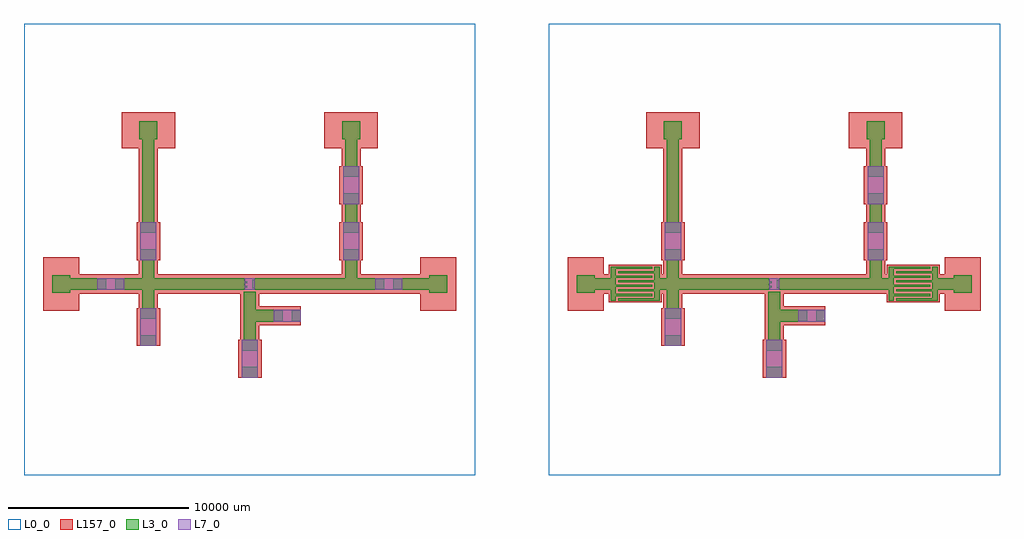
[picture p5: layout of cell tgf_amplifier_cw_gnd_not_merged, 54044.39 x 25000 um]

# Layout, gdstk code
import gdstk
lib = gdstk.Library(unit=1e-6, precision=1e-09)
def R(c, l, rs):  # rectangles x0, y0, x1, y1
    for r in rs: c.add(gdstk.rectangle(r[:2], r[2:], *l))
def A(c, l, x, y, w, h, nx, ny, dx, dy):  # array of equal rectangles
    R(c, l, [(x+i*dx, y+j*dy, x+i*dx+w, y+j*dy+h) for i in range(nx) for j in range(ny)])
def P(c, l, *ps):  # polygons
    for p in ps: c.add(gdstk.Polygon(p, *l))
L0_0 = (0, 0)
L3_0 = (3, 0)
L7_0 = (7, 0)
L157_0 = (157, 0)

tgf_amplifier_cw_gnd_not = lib.new_cell('tgf_amplifier_cw_gnd_not_merged')
R(tgf_amplifier_cw_gnd_not, L0_0, [(-3438.381,-14416.041,21561.62,10583.959), (25606.007,-14416.041,50606.008,10583.959)])
A(tgf_amplifier_cw_gnd_not, L3_0, 14347.121, -3498.541, 660, 1000, 1, 3, 0, 3100)
A(tgf_amplifier_cw_gnd_not, L3_0, 43391.509, -3498.541, 660, 1000, 1, 3, 0, 3100)
R(tgf_amplifier_cw_gnd_not, L3_0, [(8613.508,-9018.541,9513.508,-8418.541), (37657.896,-9018.541,38557.896,-8418.541), (8613.508,-7518.541,9513.508,-6918.541), (37657.896,-7518.541,38557.896,-6918.541), (2998.006,-7258.541,3898.006,-6658.541), (32042.394,-7258.541,32942.394,-6658.541), (8731.62,-6918.541,9391.62,-5918.541), (37776.008,-6918.541,38436.008,-5918.541), (8731.62,-5918.541,9391.62,-5258.541), (9391.62,-5918.541,10391.62,-5258.541), (37776.008,-5918.541,38436.008,-5258.541), (38436.008,-5918.541,39436.008,-5258.541), (10391.62,-5888.541,10891.62,-5288.541), (10391.62,-5888.541,10891.62,-5288.541), (11391.621,-5888.541,11891.621,-5288.541), (11391.621,-5888.541,11891.621,-5288.541), (39436.008,-5888.541,39936.008,-5288.541), (39436.008,-5888.541,39936.008,-5288.541), (40436.009,-5888.541,40936.009,-5288.541), (40436.009,-5888.541,40936.009,-5288.541), (2998.006,-5758.541,3898.006,-5158.541), (32042.394,-5758.541,32942.394,-5158.541), (8731.62,-5258.541,9391.62,-4258.541), (37776.008,-5258.541,38436.008,-4258.541), (3116.118,-5158.541,3776.118,-4158.541), (32160.506,-5158.541,32820.506,-4158.541), (-1868.883,-4323.541,-878.883,-3333.541), (19002.122,-4323.541,19992.122,-3333.541), (27175.505,-4323.541,28165.505,-3333.541), (48046.51,-4323.541,49036.51,-3333.541), (-878.883,-4158.541,-383.883,-3498.541), (-383.883,-4158.541,616.117,-3498.541), (2116.118,-4158.541,3116.118,-3498.541), (3116.118,-4158.541,3776.118,-3498.541), (3776.118,-4158.541,8776.118,-3498.541), (9347.121,-4158.541,14347.121,-3498.541), (14347.121,-4158.541,15007.121,-3498.541), (15007.121,-4158.541,16007.121,-3498.541), (17507.122,-4158.541,18507.122,-3498.541), (18507.122,-4158.541,19002.122,-3498.541), (28165.505,-4158.541,28660.505,-3498.541), (28660.505,-4158.541,29041.006,-3498.541), (31765.006,-4158.541,32160.506,-3498.541), (32160.506,-4158.541,32820.506,-3498.541), (32820.506,-4158.541,37820.506,-3498.541), (38391.509,-4158.541,43391.509,-3498.541), (43391.509,-4158.541,44051.509,-3498.541), (44051.509,-4158.541,44432.01,-3498.541), (47156.01,-4158.541,47551.51,-3498.541), (47551.51,-4158.541,48046.51,-3498.541), (616.117,-4128.541,1116.117,-3528.541), (616.117,-4128.541,1116.117,-3528.541), (1616.118,-4128.541,2116.118,-3528.541), (1616.118,-4128.541,2116.118,-3528.541), (16007.121,-4128.541,16507.121,-3528.541), (16007.121,-4128.541,16507.121,-3528.541), (17007.122,-4128.541,17507.122,-3528.541), (17007.122,-4128.541,17507.122,-3528.541), (9193.121,-4073.541,9347.121,-3583.54), (38237.509,-4073.541,38391.509,-3583.54), (8776.118,-4037.041,8930.118,-3922.041), (37820.506,-4037.041,37974.506,-3922.041), (8776.118,-3777.041,8930.118,-3662.041), (37820.506,-3777.041,37974.506,-3662.041), (3116.118,-3498.541,3776.118,-2498.541), (32160.506,-3498.541,32820.506,-2498.541), (2998.006,-2498.541,3898.006,-1898.541), (14229.009,-2498.541,15129.009,-1898.541), (32042.394,-2498.541,32942.394,-1898.541), (43273.397,-2498.541,44173.397,-1898.541), (2998.006,-998.541,3898.006,-398.541), (14229.009,-998.541,15129.009,-398.541), (32042.394,-998.541,32942.394,-398.541), (43273.397,-998.541,44173.397,-398.541), (3116.118,-398.541,3776.118,3701.459), (32160.506,-398.541,32820.506,3701.459), (14229.009,601.459,15129.009,1201.459), (43273.397,601.459,44173.397,1201.459), (14229.009,2101.459,15129.009,2701.459), (43273.397,2101.459,44173.397,2701.459), (3116.118,3701.459,3776.118,4196.459), (14347.121,3701.459,15007.121,4196.459), (32160.506,3701.459,32820.506,4196.459), (43391.509,3701.459,44051.509,4196.459), (2951.117,4196.459,3941.118,5186.459), (14182.12,4196.459,15172.121,5186.459), (31995.505,4196.459,32985.506,5186.459), (43226.508,4196.459,44216.509,5186.459)])
P(tgf_amplifier_cw_gnd_not, L3_0, [(29041.005,-4741.682),(29041.005,-2866.681),(31341.006,-2866.681),(31341.006,-2991.681),(29341.005,-2991.681),(29341.005,-3366.681),(31341.006,-3366.681),(31341.006,-3491.682),(29341.005,-3491.682),(29341.005,-3866.682),(31341.006,-3866.682),(31341.006,-3991.682),(29341.005,-3991.682),(29341.005,-4366.682),(31341.006,-4366.682),(31341.006,-4491.682),(29341.005,-4491.682),(29341.005,-4741.682)],
  [(29466.005,-4741.682),(29466.005,-4616.682),(31466.006,-4616.682),(31466.006,-4241.682),(29466.005,-4241.682),(29466.005,-4116.682),(31466.006,-4116.682),(31466.006,-3741.682),(29466.005,-3741.682),(29466.005,-3616.682),(31466.006,-3616.682),(31466.006,-3241.681),(29466.005,-3241.681),(29466.005,-3116.681),(31466.006,-3116.681),(31466.006,-2866.681),(31766.006,-2866.681),(31766.006,-4741.682)],
  [(44432.009,-4741.682),(44432.009,-2866.681),(46732.01,-2866.681),(46732.01,-2991.681),(44732.009,-2991.681),(44732.009,-3366.681),(46732.01,-3366.681),(46732.01,-3491.682),(44732.009,-3491.682),(44732.009,-3866.682),(46732.01,-3866.682),(46732.01,-3991.682),(44732.009,-3991.682),(44732.009,-4366.682),(46732.01,-4366.682),(46732.01,-4491.682),(44732.009,-4491.682),(44732.009,-4741.682)],
  [(44857.009,-4741.682),(44857.009,-4616.682),(46857.01,-4616.682),(46857.01,-4241.682),(44857.009,-4241.682),(44857.009,-4116.682),(46857.01,-4116.682),(46857.01,-3741.682),(44857.009,-3741.682),(44857.009,-3616.682),(46857.01,-3616.682),(46857.01,-3241.681),(44857.009,-3241.681),(44857.009,-3116.681),(46857.01,-3116.681),(46857.01,-2866.681),(47157.01,-2866.681),(47157.01,-4741.682)])
R(tgf_amplifier_cw_gnd_not, L7_0, [(8613.508,-9018.541,9513.508,-6918.541), (37657.896,-9018.541,38557.896,-6918.541), (2998.006,-7258.541,3898.006,-5158.541), (32042.394,-7258.541,32942.394,-5158.541), (10391.62,-5918.541,11891.621,-5258.541), (39436.008,-5918.541,40936.009,-5258.541), (616.117,-4158.541,2116.118,-3498.541), (8776.118,-4158.541,9347.121,-3498.541), (16007.121,-4158.541,17507.122,-3498.541), (37820.506,-4158.541,38391.509,-3498.541), (2998.006,-2498.541,3898.006,-398.541), (14229.009,-2498.541,15129.009,-398.541), (32042.394,-2498.541,32942.394,-398.541), (43273.397,-2498.541,44173.397,-398.541), (14229.009,601.458,15129.009,2701.459), (43273.397,601.458,44173.397,2701.459)])
A(tgf_amplifier_cw_gnd_not, L157_0, 14147.121, -3498.541, 1060, 1000, 1, 3, 0, 3100)
A(tgf_amplifier_cw_gnd_not, L157_0, 43191.509, -3498.541, 1060, 1000, 1, 3, 0, 3100)
R(tgf_amplifier_cw_gnd_not, L157_0, [(8413.508,-9018.541,9713.508,-6918.541), (37457.896,-9018.541,38757.896,-6918.541), (2798.006,-7258.541,4098.006,-5158.541), (31842.394,-7258.541,33142.394,-5158.541), (8531.62,-6918.541,9591.62,-5918.541), (37576.008,-6918.541,38636.008,-5918.541), (9391.62,-6118.541,10391.62,-5058.541), (10391.62,-6118.541,11891.621,-5058.541), (38436.008,-6118.541,39436.008,-5058.541), (39436.008,-6118.541,40936.009,-5058.541), (8531.62,-5918.541,9591.62,-5258.541), (37576.008,-5918.541,38636.008,-5258.541), (-2363.883,-5313.541,-383.883,-2343.541), (18507.122,-5313.541,20487.122,-2343.541), (26680.505,-5313.541,28660.505,-2343.541), (47551.51,-5313.541,49531.51,-2343.541), (8531.62,-5258.541,9591.62,-4258.541), (37576.008,-5258.541,38636.008,-4258.541), (2916.118,-5158.541,3976.118,-4158.541), (31960.506,-5158.541,33020.506,-4158.541), (28941.005,-4841.682,31866.006,-2766.681), (44332.009,-4841.682,47257.01,-2766.681), (-383.883,-4358.541,616.117,-3298.541), (616.117,-4358.541,2116.118,-3298.541), (2116.118,-4358.541,3116.118,-3298.541), (2916.118,-4358.541,3976.118,-3298.541), (3776.118,-4358.541,8776.118,-3298.541), (8776.118,-4358.541,9347.121,-3298.541), (9347.121,-4358.541,14347.121,-3298.541), (14347.121,-4358.541,15007.121,-3298.541), (15007.121,-4358.541,16007.121,-3298.541), (16007.121,-4358.541,17507.122,-3298.541), (17507.122,-4358.541,18507.122,-3298.541), (28660.505,-4358.541,29041.005,-3298.541), (31766.006,-4358.541,32160.506,-3298.541), (31960.506,-4358.541,33020.506,-3298.541), (32820.506,-4358.541,37820.506,-3298.541), (37820.506,-4358.541,38391.509,-3298.541), (38391.509,-4358.541,43391.509,-3298.541), (43391.509,-4358.541,44051.509,-3298.541), (44051.509,-4358.541,44432.009,-3298.541), (47157.01,-4358.541,47551.51,-3298.541), (2916.118,-3498.541,3976.118,-2498.541), (31960.506,-3498.541,33020.506,-2498.541), (2798.006,-2498.541,4098.006,-398.541), (14029.009,-2498.541,15329.009,-398.541), (31842.394,-2498.541,33142.394,-398.541), (43073.397,-2498.541,44373.397,-398.541), (2916.118,-398.541,3976.118,3701.459), (31960.506,-398.541,33020.506,3701.459), (14029.009,601.459,15329.009,2701.459), (43073.397,601.459,44373.397,2701.459), (1961.118,3701.459,4931.119,5681.459), (13192.121,3701.459,16162.122,5681.459), (31005.506,3701.459,33975.507,5681.459), (42236.509,3701.459,45206.51,5681.459)])

lib.write_gds('tgf_amplifier_cw_gnd_not_merged.gds')
